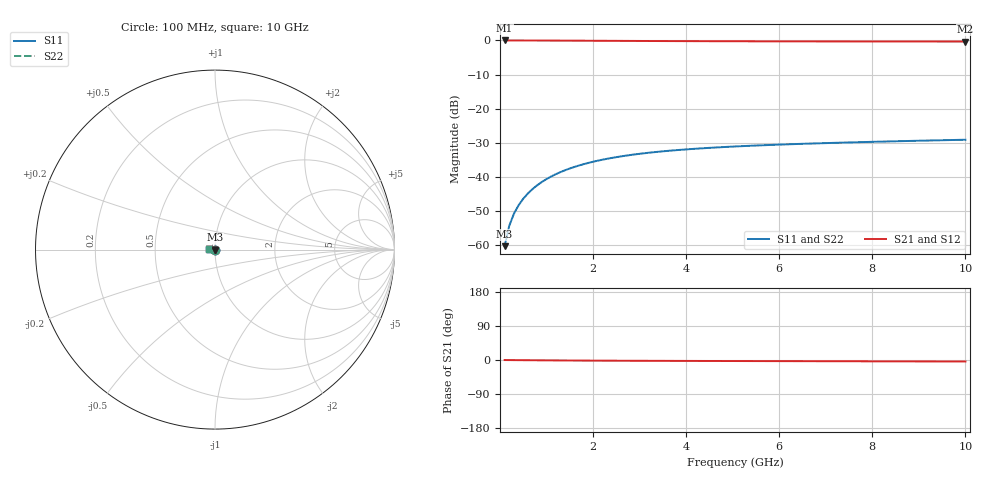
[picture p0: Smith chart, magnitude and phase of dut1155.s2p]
! Touchstone file exported from HFSS 2024.1.0
!  File:  C:/UserFiles/LocalFiles/RDL_TSV_Batchsim/temp_TSV1_1155_1780072223.aedt
!  Generated:  12:35:27 AM May 30, 2026
!  Design:  TSV1
!  Project:  temp_TSV1_1155_1780072223
!  Setup:  Setup1
!  Solution:  Sweep
! Variables:
!  dtsv = 11.18um
!  hbump = 3um
!  htsv = 58.34um
!  lrdl = 252.1521522um
!  p = 40
!  p1 = 55.89um
!  t = 500um
!  trdl = 3um
!  wrdl = 24.89489489um
# GHz S MA R 50.000000
! Terminal data exported
! Port[1] = TSV22_T1
! Port[2] = TSV22_T2
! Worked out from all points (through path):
!   100 points, 100 MHz to 10 GHz, reference 50 ohm
!   highest |S21| = 0.00 dB at 100 MHz (marker M1); lowest = -0.3 dB at 10 GHz (marker M2)
!   lowest |S11| = -60.3 dB at 100 MHz (marker M3), VSWR 1.00, Z = 50 - j0.0964 ohm
!   |S11| at or under -10 dB: start of sweep to end of sweep
!   |S22| runs from -60.3 to -29.1 dB; largest |S21 - S12| = 4e-15
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0.1  0.0009658 -86.4  0.9999 -0.1  0.9999 -0.1  0.0009658 -86.4
! Gamma 0 0 0 0
! Port Impedance 50 0 50 0
0.2  0.001925 -91.0  0.9998 -0.2  0.9998 -0.2  0.001925 -91.0
0.3  0.002885 -93.9  0.9996 -0.3  0.9996 -0.3  0.002885 -93.9
0.4  0.00384 -96.4  0.9993 -0.4  0.9993 -0.4  0.00384 -96.4
0.5  0.004786 -98.7  0.999 -0.5  0.999 -0.5  0.004786 -98.7
0.6  0.005721 -100.8  0.9986 -0.6  0.9986 -0.6  0.005721 -100.8
0.7  0.006641 -103.0  0.9982 -0.7  0.9982 -0.7  0.006641 -103.0
0.8  0.007545 -105.0  0.9977 -0.8  0.9977 -0.8  0.007545 -105.0
0.9  0.00843 -107.0  0.9972 -0.9  0.9972 -0.9  0.00843 -107.0
1.1  0.01014 -110.9  0.9961 -1.0  0.9961 -1.0  0.01014 -110.9
1.4  0.01253 -116.5  0.9941 -1.3  0.9941 -1.3  0.01253 -116.5
1.6  0.01401 -120.0  0.9927 -1.4  0.9927 -1.4  0.01401 -120.0
1.8  0.01539 -123.3  0.9912 -1.5  0.9912 -1.5  0.01539 -123.3
2.1  0.01728 -128.1  0.989 -1.7  0.989 -1.7  0.01728 -128.1
2.5  0.01949 -133.9  0.9862 -1.9  0.9862 -1.9  0.01949 -133.9
2.9  0.02138 -139.2  0.9835 -2.1  0.9835 -2.1  0.02138 -139.2
3.4  0.02336 -145.1  0.9805 -2.2  0.9805 -2.2  0.02336 -145.1
4.2  0.02587 -153.3  0.9764 -2.5  0.9764 -2.5  0.02587 -153.3
5.1  0.02803 -161.0  0.9729 -2.7  0.9729 -2.7  0.02803 -161.0
6.7  0.03086 -172.2  0.9685 -3.1  0.9685 -3.1  0.03086 -172.2
8.4  0.03317 178.3  0.9655 -3.6  0.9655 -3.6  0.03317 178.3
10  0.03506 170.8  0.9636 -4.0  0.9636 -4.0  0.03506 170.8
